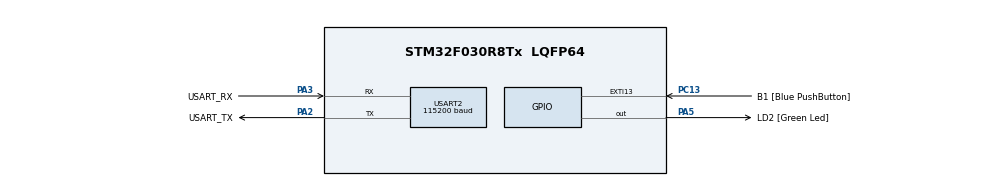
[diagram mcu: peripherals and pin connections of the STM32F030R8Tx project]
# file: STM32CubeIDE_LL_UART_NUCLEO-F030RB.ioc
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Mcu.Family=STM32F0
Mcu.Name=STM32F030R8Tx
Mcu.Package=LQFP64
NVIC.USART2_IRQn=true\:0\:0\:false\:false\:true\:true\:true
PA13.GPIO_Label=TMS
PA13.Mode=Serial_Wire
PA13.Signal=SYS_SWDIO
PA14.GPIO_Label=TCK
PA14.Mode=Serial_Wire
PA14.Signal=SYS_SWCLK
PA2.GPIO_Label=USART_TX
PA2.GPIO_Mode=GPIO_MODE_AF_PP
PA2.GPIO_PuPd=GPIO_NOPULL
PA2.GPIO_Speed=GPIO_SPEED_FREQ_LOW
PA2.Mode=Asynchronous
PA2.Signal=USART2_TX
PA3.GPIO_Label=USART_RX
PA3.GPIO_Mode=GPIO_MODE_AF_PP
PA3.GPIO_PuPd=GPIO_NOPULL
PA3.GPIO_Speed=GPIO_SPEED_FREQ_LOW
PA3.Mode=Asynchronous
PA3.Signal=USART2_RX
PA5.GPIO_Label=LD2 [Green Led]
PA5.GPIO_Mode=GPIO_MODE_OUTPUT_PP
PA5.GPIO_PuPd=GPIO_NOPULL
PA5.GPIO_Speed=GPIO_SPEED_FREQ_LOW
PA5.Signal=GPIO_Output
PC13.GPIO_Label=B1 [Blue PushButton]
PC13.GPIO_ModeDefaultEXTI=GPIO_MODE_IT_FALLING
PC13.Signal=GPXTI13
PC14-OSC32_IN.Mode=LSE-External-Oscillator
PC14-OSC32_IN.Signal=RCC_OSC32_IN
PC15-OSC32_OUT.Mode=LSE-External-Oscillator
PC15-OSC32_OUT.Signal=RCC_OSC32_OUT
PF0-OSC_IN.Mode=HSE-External-Clock-Source
PF0-OSC_IN.Signal=RCC_OSC_IN
PF1-OSC_OUT.Signal=RCC_OSC_OUT
ProjectManager.HeapSize=0x200
ProjectManager.StackSize=0x400
ProjectManager.TargetToolchain=STM32CubeIDE
RCC.AHBFreq_Value=48000000
RCC.APB1Freq_Value=48000000
RCC.APB1TimFreq_Value=48000000
RCC.HCLKFreq_Value=48000000
RCC.PLLMUL=RCC_PLL_MUL12
RCC.SYSCLKFreq_VALUE=48000000
RCC.SYSCLKSource=RCC_SYSCLKSOURCE_PLLCLK
USART2.BaudRate=115200
USART2.VirtualMode-Asynchronous=VM_ASYNC
board=NUCLEO-F030R8

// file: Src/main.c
/* USER CODE BEGIN Header */
/**
  ******************************************************************************
  * @file           : main.c
  * @brief          : Main program body
  ******************************************************************************
  * @attention
  *
  * <h2><center>&copy; Copyright (c) 2020 STMicroelectronics.
  * All rights reserved.</center></h2>
  *
  * This software component is licensed by ST under BSD 3-Clause license,
  * the "License"; You may not use this file except in compliance with the
  * License. You may obtain a copy of the License at:
  *                        opensource.org/licenses/BSD-3-Clause
  *
  ******************************************************************************
  */
/* USER CODE END Header */

#include "main.h"

/* USER CODE BEGIN Includes */
#include "trice.h"
/* USER CODE END Includes */

void SystemClock_Config(void);
static void MX_GPIO_Init(void);
static void MX_USART2_UART_Init(void);

int main(void)
{
  /* USER CODE BEGIN 1 */
#ifdef ENCRYPT
    InitXteaTable();
#endif
  /* USER CODE END 1 */

  /* MCU Configuration--------------------------------------------------------*/

  /* Reset of all peripherals, Initializes the Flash interface and the Systick. */

  LL_APB1_GRP2_EnableClock(LL_APB1_GRP2_PERIPH_SYSCFG);
  LL_APB1_GRP1_EnableClock(LL_APB1_GRP1_PERIPH_PWR);

  /* System interrupt init*/

  /* Configure the system clock */
  SystemClock_Config();

  /* USER CODE BEGIN SysInit */
    SysTick->CTRL |= SysTick_CTRL_TICKINT_Msk; // enable SysTick interrupt
  /* USER CODE END SysInit */

  /* Initialize all configured peripherals */
  MX_GPIO_Init();
  MX_USART2_UART_Init();
  /* USER CODE BEGIN 2 */
    LL_USART_EnableIT_RXNE(USART2); // enable UART2 interrupt
  /* USER CODE END 2 */

  /* Infinite loop */
  /* USER CODE BEGIN WHILE */
  TRICE16_1( Id(31905), "tim:timing      message, SysTick is %6d\n", SYSTICKVAL16 );
  TRICE0( Id(63313), "att:STM32CubeIDE_LL_UART_NUCLEO-F030R8\n" );
  TRICE16_1( Id(46377), "tim:timing      message, SysTick is %6d\n", SYSTICKVAL16 );
  TRICE16_1( Id(39206), "tim:timing      message, SysTick is %6d\n", SYSTICKVAL16 );
  TRICE16_1( Id(33238), "tim:timing      message, SysTick is %6d\n", SYSTICKVAL16 );
  TRICE16_1( Id(17927), "tim:timing      message, SysTick is %6d\n", SYSTICKVAL16 );
    while (1)
    {
      //////////////////////////////////////////////////
      // demo trices
      //
      static uint32_t ms_1 = 0;
      if( ms >= ms_1 + 1000 ){ // every sec
          static int index = 0;
          triceCheckSet(index++%20);
          TRICE32_1( Id(45025), "time:ms = %d\n", ms );
          LL_GPIO_TogglePin(LD2_GPIO_Port, LD2_Pin);
          ms_1 = ms;
      }
      //
      //////////////////////////////////////////////////

      //////////////////////////////////////////////////
      // needed background activity
      //
        #ifdef LL_INTERFACE_NO_INTERRUPTS
        triceServe();
        #endif
      //
      //////////////////////////////////////////////////
    /* USER CODE END WHILE */

  }
}

void SystemClock_Config(void)
{
  LL_FLASH_SetLatency(LL_FLASH_LATENCY_1);

  if(LL_FLASH_GetLatency() != LL_FLASH_LATENCY_1)
  {
  Error_Handler();
  }
  LL_RCC_HSI_Enable();

   /* Wait till HSI is ready */
  while(LL_RCC_HSI_IsReady() != 1)
  {

  }
  LL_RCC_HSI_SetCalibTrimming(16);
  LL_RCC_PLL_ConfigDomain_SYS(LL_RCC_PLLSOURCE_HSI_DIV_2, LL_RCC_PLL_MUL_12);
  LL_RCC_PLL_Enable();

   /* Wait till PLL is ready */
  while(LL_RCC_PLL_IsReady() != 1)
  {

  }
  LL_RCC_SetAHBPrescaler(LL_RCC_SYSCLK_DIV_1);
  LL_RCC_SetAPB1Prescaler(LL_RCC_APB1_DIV_1);
  LL_RCC_SetSysClkSource(LL_RCC_SYS_CLKSOURCE_PLL);

   /* Wait till System clock is ready */
  while(LL_RCC_GetSysClkSource() != LL_RCC_SYS_CLKSOURCE_STATUS_PLL)
  {

  }
  LL_Init1msTick(48000000);
  LL_SetSystemCoreClock(48000000);
}

static void MX_USART2_UART_Init(void)
{

  LL_USART_InitTypeDef USART_InitStruct = {0};

  LL_GPIO_InitTypeDef GPIO_InitStruct = {0};

  /* Peripheral clock enable */
  LL_APB1_GRP1_EnableClock(LL_APB1_GRP1_PERIPH_USART2);

  LL_AHB1_GRP1_EnableClock(LL_AHB1_GRP1_PERIPH_GPIOA);
  /**USART2 GPIO Configuration
  PA2   ------> USART2_TX
  PA3   ------> USART2_RX
  */
  GPIO_InitStruct.Pin = USART_TX_Pin;
  GPIO_InitStruct.Mode = LL_GPIO_MODE_ALTERNATE;
  GPIO_InitStruct.Speed = LL_GPIO_SPEED_FREQ_LOW;
  GPIO_InitStruct.OutputType = LL_GPIO_OUTPUT_PUSHPULL;
  GPIO_InitStruct.Pull = LL_GPIO_PULL_NO;
  GPIO_InitStruct.Alternate = LL_GPIO_AF_1;
  LL_GPIO_Init(USART_TX_GPIO_Port, &GPIO_InitStruct);

  GPIO_InitStruct.Pin = USART_RX_Pin;
  GPIO_InitStruct.Mode = LL_GPIO_MODE_ALTERNATE;
  GPIO_InitStruct.Speed = LL_GPIO_SPEED_FREQ_LOW;
  GPIO_InitStruct.OutputType = LL_GPIO_OUTPUT_PUSHPULL;
  GPIO_InitStruct.Pull = LL_GPIO_PULL_NO;
  GPIO_InitStruct.Alternate = LL_GPIO_AF_1;
  LL_GPIO_Init(USART_RX_GPIO_Port, &GPIO_InitStruct);

  /* USART2 interrupt Init */
  NVIC_SetPriority(USART2_IRQn, 0);
  NVIC_EnableIRQ(USART2_IRQn);

  USART_InitStruct.BaudRate = 115200;
  USART_InitStruct.DataWidth = LL_USART_DATAWIDTH_8B;
  USART_InitStruct.StopBits = LL_USART_STOPBITS_1;
  USART_InitStruct.Parity = LL_USART_PARITY_NONE;
  USART_InitStruct.TransferDirection = LL_USART_DIRECTION_TX_RX;
  USART_InitStruct.HardwareFlowControl = LL_USART_HWCONTROL_NONE;
  USART_InitStruct.OverSampling = LL_USART_OVERSAMPLING_16;
  LL_USART_Init(USART2, &USART_InitStruct);
  LL_USART_DisableIT_CTS(USART2);
  LL_USART_ConfigAsyncMode(USART2);
  LL_USART_Enable(USART2);

}

static void MX_GPIO_Init(void)
{
  LL_EXTI_InitTypeDef EXTI_InitStruct = {0};
  LL_GPIO_InitTypeDef GPIO_InitStruct = {0};

  /* GPIO Ports Clock Enable */
  LL_AHB1_GRP1_EnableClock(LL_AHB1_GRP1_PERIPH_GPIOC);
  LL_AHB1_GRP1_EnableClock(LL_AHB1_GRP1_PERIPH_GPIOF);
  LL_AHB1_GRP1_EnableClock(LL_AHB1_GRP1_PERIPH_GPIOA);

  /**/
  LL_GPIO_ResetOutputPin(LD2_GPIO_Port, LD2_Pin);

  /**/
  LL_SYSCFG_SetEXTISource(LL_SYSCFG_EXTI_PORTC, LL_SYSCFG_EXTI_LINE13);

  /**/
  LL_GPIO_SetPinPull(B1_GPIO_Port, B1_Pin, LL_GPIO_PULL_NO);

  /**/
  LL_GPIO_SetPinMode(B1_GPIO_Port, B1_Pin, LL_GPIO_MODE_INPUT);

  /**/
  EXTI_InitStruct.Line_0_31 = LL_EXTI_LINE_13;
  EXTI_InitStruct.LineCommand = ENABLE;
  EXTI_InitStruct.Mode = LL_EXTI_MODE_IT;
  EXTI_InitStruct.Trigger = LL_EXTI_TRIGGER_FALLING;
  LL_EXTI_Init(&EXTI_InitStruct);

  /**/
  GPIO_InitStruct.Pin = LD2_Pin;
  GPIO_InitStruct.Mode = LL_GPIO_MODE_OUTPUT;
  GPIO_InitStruct.Speed = LL_GPIO_SPEED_FREQ_LOW;
  GPIO_InitStruct.OutputType = LL_GPIO_OUTPUT_PUSHPULL;
  GPIO_InitStruct.Pull = LL_GPIO_PULL_NO;
  LL_GPIO_Init(LD2_GPIO_Port, &GPIO_InitStruct);

}

void Error_Handler(void)
{
}

/************************ (C) COPYRIGHT STMicroelectronics *****END OF FILE****/
